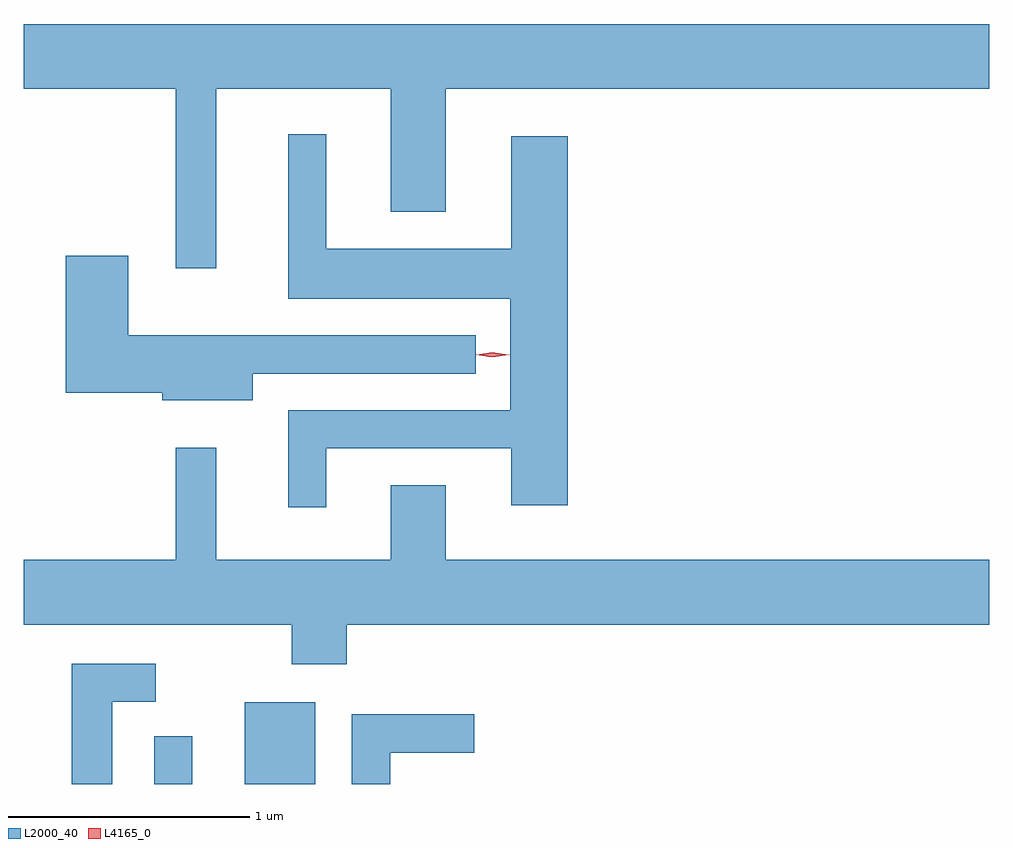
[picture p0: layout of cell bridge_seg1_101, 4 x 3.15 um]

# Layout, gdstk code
import gdstk
lib = gdstk.Library(unit=1e-6, precision=1e-09)
def R(c, l, rs):  # rectangles x0, y0, x1, y1
    for r in rs: c.add(gdstk.rectangle(r[:2], r[2:], *l))
def P(c, l, *ps):  # polygons
    for p in ps: c.add(gdstk.Polygon(p, *l))
L2000_40 = (2000, 40)
L4165_0 = (4165, 0)

bridge_seg1_101 = lib.new_cell('bridge_seg1_101')
R(bridge_seg1_101, L2000_40, [(1200.571,969.956,1200.729,970.153), (1200.946,969.956,1201.239,970.294)])
P(bridge_seg1_101, L2000_40, [(1200.829,972.836),(1201.551,972.836),(1201.551,972.326),(1201.779,972.326),(1201.779,972.836),(1204.031,972.836),(1204.031,973.104),(1200.031,973.104),(1200.031,972.836),(1200.661,972.836),(1200.661,972.093),(1200.829,972.093)],
  [(1201.284,971.346),(1202.051,971.346),(1202.051,971.111),(1202.284,971.111),(1202.284,972.639),(1202.051,972.639),(1202.051,972.174),(1201.284,972.174),(1201.284,972.648),(1201.126,972.648),(1201.126,971.966),(1202.046,971.966),(1202.046,971.504),(1201.126,971.504),(1201.126,971.103),(1201.284,971.103)],
  [(1200.979,971.656),(1201.903,971.656),(1201.903,971.814),(1200.464,971.814),(1200.464,972.144),(1200.206,972.144),(1200.206,971.576),(1200.606,971.576),(1200.606,971.546),(1200.979,971.546)],
  [(1201.369,970.616),(1204.031,970.616),(1204.031,970.884),(1201.779,970.884),(1201.779,971.194),(1201.551,971.194),(1201.551,970.884),(1200.829,970.884),(1200.829,971.348),(1200.661,971.348),(1200.661,970.884),(1200.031,970.884),(1200.031,970.616),(1201.141,970.616),(1201.141,970.451),(1201.369,970.451)],
  [(1200.399,970.296),(1200.578,970.296),(1200.578,970.454),(1200.231,970.454),(1200.231,969.956),(1200.399,969.956)],
  [(1201.549,970.086),(1201.898,970.086),(1201.898,970.244),(1201.391,970.244),(1201.391,969.956),(1201.549,969.956)])
P(bridge_seg1_101, L4165_0, [(1201.973,971.723),(1201.904,971.733),(1201.904,971.733),(1201.904,971.734),(1201.973,971.743),(1202.042,971.734),(1202.043,971.733),(1202.042,971.733)],
  [(1201.973,971.725),(1201.908,971.734),(1201.907,971.735),(1201.908,971.735),(1201.973,971.745),(1202.039,971.735),(1202.04,971.735),(1202.039,971.734)])

lib.write_gds('bridge_seg1_101.gds')
